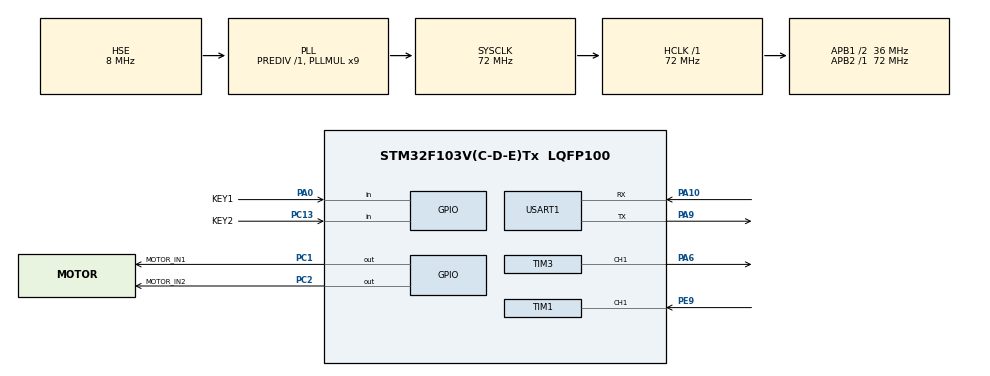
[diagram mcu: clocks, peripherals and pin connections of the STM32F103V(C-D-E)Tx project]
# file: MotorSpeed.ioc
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Mcu.Family=STM32F1
Mcu.Name=STM32F103V(C-D-E)Tx
Mcu.Package=LQFP100
NVIC.PriorityGroup=NVIC_PRIORITYGROUP_4
OSC_IN.Mode=HSE-External-Oscillator
OSC_IN.Signal=RCC_OSC_IN
OSC_OUT.Mode=HSE-External-Oscillator
OSC_OUT.Signal=RCC_OSC_OUT
PA0-WKUP.GPIO_Label=KEY1
PA0-WKUP.GPIO_PuPd=GPIO_PULLDOWN
PA0-WKUP.Signal=GPIO_Input
PA10.Mode=Asynchronous
PA10.Signal=USART1_RX
PA13.Mode=Serial_Wire
PA13.Signal=SYS_JTMS-SWDIO
PA14.Mode=Serial_Wire
PA14.Signal=SYS_JTCK-SWCLK
PA6.Signal=S_TIM3_CH1
PA9.Mode=Asynchronous
PA9.Signal=USART1_TX
PC1.GPIO_Label=MOTOR_IN1
PC1.Signal=GPIO_Output
PC13-TAMPER-RTC.GPIO_Label=KEY2
PC13-TAMPER-RTC.GPIO_PuPd=GPIO_PULLDOWN
PC13-TAMPER-RTC.Signal=GPIO_Input
PC2.GPIO_Label=MOTOR_IN2
PC2.Signal=GPIO_Output
PE9.Signal=S_TIM1_CH1
ProjectManager.HeapSize=0x200
ProjectManager.StackSize=0x400
ProjectManager.TargetToolchain=MDK-ARM V5.32
RCC.AHBFreq_Value=72000000
RCC.APB1CLKDivider=RCC_HCLK_DIV2
RCC.APB1Freq_Value=36000000
RCC.APB1TimFreq_Value=72000000
RCC.APB2Freq_Value=72000000
RCC.APB2TimFreq_Value=72000000
RCC.HCLKFreq_Value=72000000
RCC.PLLMUL=RCC_PLL_MUL9
RCC.PLLSourceVirtual=RCC_PLLSOURCE_HSE
RCC.SYSCLKFreq_VALUE=72000000
RCC.SYSCLKSource=RCC_SYSCLKSOURCE_PLLCLK
RCC.USBFreq_Value=72000000
SH.S_TIM1_CH1.0=TIM1_CH1,TriggerSource_TI1FP1
SH.S_TIM3_CH1.0=TIM3_CH1,PWM Generation1 CH1
TIM1.Slave_TriggerFilter=4
TIM3.AutoReloadPreload=TIM_AUTORELOAD_PRELOAD_ENABLE
TIM3.Channel-PWM\ Generation1\ CH1=TIM_CHANNEL_1
TIM3.Period=999
TIM3.Prescaler=71
USART1.VirtualMode=VM_ASYNC
VP_TIM1_VS_ControllerModeClock.Mode=Clock Mode
board=custom

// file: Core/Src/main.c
/* USER CODE BEGIN Header */
/**
  ******************************************************************************
  * @file           : main.c
  * @brief          : Main program body
  ******************************************************************************
  * @attention
  *
  * Copyright (c) 2026 STMicroelectronics.
  * All rights reserved.
  *
  * This software is licensed under terms that can be found in the LICENSE file
  * in the root directory of this software component.
  * If no LICENSE file comes with this software, it is provided AS-IS.
  *
  ******************************************************************************
  */
/* USER CODE END Header */
#include "main.h"
#include "tim.h"
#include "usart.h"
#include "gpio.h"

/* USER CODE BEGIN Includes */
#include <stdio.h>
#include "motor.h"    // 包含电机驱动头文件
#include "encoder.h"  // 包含编码器驱动头文件
#include "pid.h"
/* USER CODE END Includes */

/* USER CODE BEGIN PV */
int16_t target_speed = 0;  // 目标速度 (PWM占空比：-999 到 999)
float current_rpm = 0;     // 当前实际转速 (RPM)
uint32_t last_print_time = 0; // 用于定时打印的计时器。
/* USER CODE END PV */

void SystemClock_Config(void);

/* USER CODE BEGIN 0 */

// 重定向 printf 到 UART1
int fputc(int ch, FILE *f) {
  // &huart1 是 CubeMX 自动生成的串口句柄
  HAL_UART_Transmit(&huart1, (uint8_t *)&ch, 1, 0xffff);
  return ch;
}

/* USER CODE END 0 */

int main(void)
{

  /* MCU Configuration--------------------------------------------------------*/

  /* Reset of all peripherals, Initializes the Flash interface and the Systick. */
  HAL_Init();

  /* Configure the system clock */
  SystemClock_Config();

  /* Initialize all configured peripherals */
  MX_GPIO_Init();
  MX_TIM3_Init();
  MX_USART1_UART_Init();
  MX_TIM1_Init();
  /* USER CODE BEGIN 2 */
// --- 2. 启动外设 ---
  HAL_TIM_PWM_Start(&htim3, TIM_CHANNEL_1);       // 启动通道1的PWM输出
  HAL_TIM_Base_Start(&htim1); // 启动编码
  printf("System Ready! Motor Control Start...\r\n");
  printf("KEY1: Speed Up | KEY2: Speed Down\r\n");
  /* USER CODE END 2 */

  /* Infinite loop */
  /* USER CODE BEGIN WHILE */
  while (1)
  {
    // --- 3. 按键扫描逻辑 (高电平有效) ---

    // KEY1 (PA0) 加速
    if (HAL_GPIO_ReadPin(GPIOA, GPIO_PIN_0) == GPIO_PIN_SET)
    {
        HAL_Delay(20); // 软件消抖
        if (HAL_GPIO_ReadPin(GPIOA, GPIO_PIN_0) == GPIO_PIN_SET)
        {
            target_speed += 100; // 每次增加10%占空比
            if (target_speed > 999) target_speed = 999;
            printf(">> Target Speed Up: %d\n", target_speed);
            while(HAL_GPIO_ReadPin(GPIOA, GPIO_PIN_0) == GPIO_PIN_SET); // 等待按键释放
        }
    }

    // KEY2 (PC13) 减速
    if (HAL_GPIO_ReadPin(GPIOC, GPIO_PIN_13) == GPIO_PIN_SET)
    {
        HAL_Delay(20); // 软件消抖
        if (HAL_GPIO_ReadPin(GPIOC, GPIO_PIN_13) == GPIO_PIN_SET)
        {
            target_speed -= 100; // 每次减少10%占空比
            if (target_speed < -999) target_speed = -999;
            printf(">> Target Speed Down: %d\n", target_speed);
            while(HAL_GPIO_ReadPin(GPIOC, GPIO_PIN_13) == GPIO_PIN_SET); // 等待按键释放
        }
    }
    // --- 4. 电机执行逻辑 ---
    Motor_Set_Speed(target_speed);

    // --- 5. 测速与定时显示逻辑 (非阻塞) ---
    // 每 100ms 计算一次速度并打印
    if (HAL_GetTick() - last_print_time >= 100)
    {
        current_rpm = Encoder_Get_RPM(); // 获取当前转速

        // 打印到串口助手
        printf("PWM: %4d | Speed: %6.2f RPM\r\n", target_speed, current_rpm);

        last_print_time = HAL_GetTick(); // 更新计时
    }
    /* USER CODE END WHILE */

  }
}

void SystemClock_Config(void)
{
  RCC_OscInitTypeDef RCC_OscInitStruct = {0};
  RCC_ClkInitTypeDef RCC_ClkInitStruct = {0};

  /** Initializes the RCC Oscillators according to the specified parameters
  * in the RCC_OscInitTypeDef structure.
  */
  RCC_OscInitStruct.OscillatorType = RCC_OSCILLATORTYPE_HSE;
  RCC_OscInitStruct.HSEState = RCC_HSE_ON;
  RCC_OscInitStruct.HSEPredivValue = RCC_HSE_PREDIV_DIV1;
  RCC_OscInitStruct.HSIState = RCC_HSI_ON;
  RCC_OscInitStruct.PLL.PLLState = RCC_PLL_ON;
  RCC_OscInitStruct.PLL.PLLSource = RCC_PLLSOURCE_HSE;
  RCC_OscInitStruct.PLL.PLLMUL = RCC_PLL_MUL9;
  if (HAL_RCC_OscConfig(&RCC_OscInitStruct) != HAL_OK)
  {
    Error_Handler();
  }

  /** Initializes the CPU, AHB and APB buses clocks
  */
  RCC_ClkInitStruct.ClockType = RCC_CLOCKTYPE_HCLK|RCC_CLOCKTYPE_SYSCLK
                              |RCC_CLOCKTYPE_PCLK1|RCC_CLOCKTYPE_PCLK2;
  RCC_ClkInitStruct.SYSCLKSource = RCC_SYSCLKSOURCE_PLLCLK;
  RCC_ClkInitStruct.AHBCLKDivider = RCC_SYSCLK_DIV1;
  RCC_ClkInitStruct.APB1CLKDivider = RCC_HCLK_DIV2;
  RCC_ClkInitStruct.APB2CLKDivider = RCC_HCLK_DIV1;

  if (HAL_RCC_ClockConfig(&RCC_ClkInitStruct, FLASH_LATENCY_2) != HAL_OK)
  {
    Error_Handler();
  }
}

void Error_Handler(void)
{
  __disable_irq();
  while (1)
  {
  }
}
